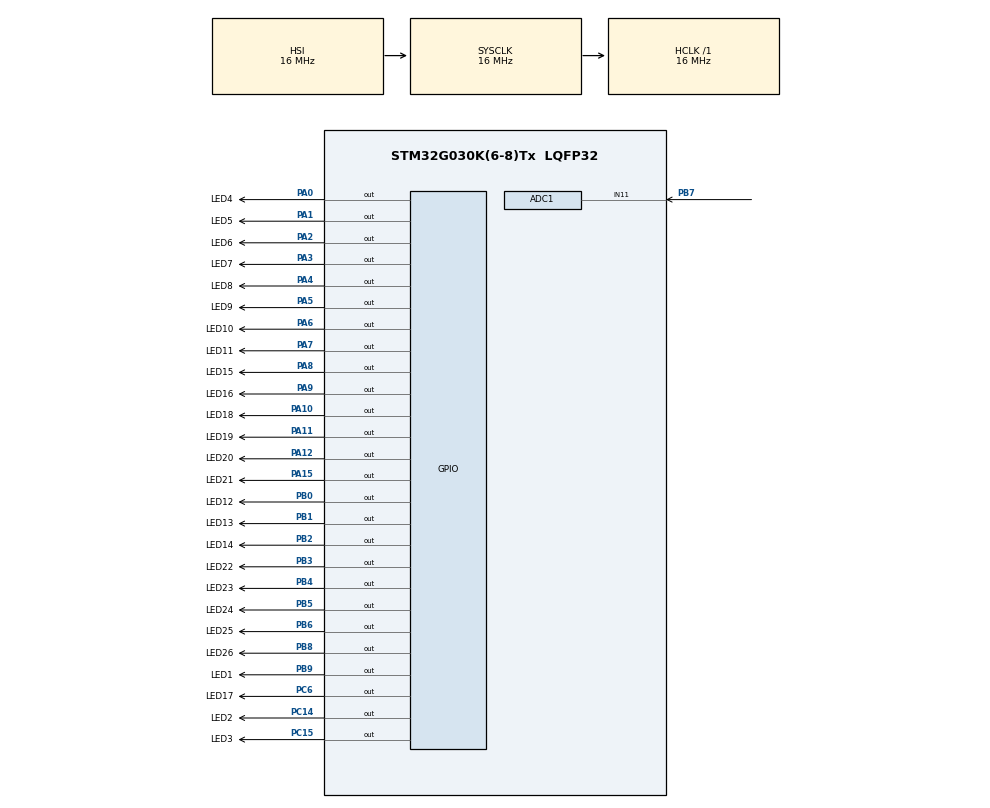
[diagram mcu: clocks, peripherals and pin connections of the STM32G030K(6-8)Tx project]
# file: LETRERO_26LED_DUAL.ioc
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ADC1.Channel-0\#ChannelRegularConversion=ADC_CHANNEL_11
ADC1.NbrOfConversionFlag=1
ADC1.Rank-0\#ChannelRegularConversion=1
ADC1.SamplingTime-0\#ChannelRegularConversion=ADC_SAMPLINGTIME_COMMON_1
ADC1.SamplingTimeCommon1=ADC_SAMPLETIME_160CYCLES_5
ADC1.SamplingTimeCommon2=ADC_SAMPLETIME_160CYCLES_5
ADC1.SelectedChannel=ADC_CHANNEL_11
ADC1.master=1
Mcu.Family=STM32G0
Mcu.Name=STM32G030K(6-8)Tx
Mcu.Package=LQFP32
NVIC.ADC1_IRQn=true\:0\:0\:false\:false\:true\:true\:true\:true
PA0.GPIO_Label=LED4
PA0.GPIO_ModeDefaultOutputPP=GPIO_MODE_OUTPUT_OD
PA0.GPIO_PuPd=GPIO_NOPULL
PA0.Signal=GPIO_Output
PA1.GPIO_Label=LED5
PA1.GPIO_ModeDefaultOutputPP=GPIO_MODE_OUTPUT_OD
PA1.GPIO_PuPd=GPIO_NOPULL
PA1.Signal=GPIO_Output
PA10.GPIO_Label=LED18
PA10.GPIO_ModeDefaultOutputPP=GPIO_MODE_OUTPUT_OD
PA10.GPIO_PuPd=GPIO_NOPULL
PA10.Signal=GPIO_Output
PA11\ [PA9].GPIO_Label=LED19
PA11\ [PA9].GPIO_ModeDefaultOutputPP=GPIO_MODE_OUTPUT_OD
PA11\ [PA9].GPIO_PuPd=GPIO_NOPULL
PA11\ [PA9].Signal=GPIO_Output
PA12\ [PA10].GPIO_Label=LED20
PA12\ [PA10].GPIO_ModeDefaultOutputPP=GPIO_MODE_OUTPUT_OD
PA12\ [PA10].GPIO_PuPd=GPIO_NOPULL
PA12\ [PA10].Signal=GPIO_Output
PA13.Mode=Serial_Wire
PA13.Signal=SYS_SWDIO
PA14-BOOT0.Mode=Serial_Wire
PA14-BOOT0.Signal=SYS_SWCLK
PA15.GPIO_Label=LED21
PA15.GPIO_ModeDefaultOutputPP=GPIO_MODE_OUTPUT_OD
PA15.GPIO_PuPd=GPIO_NOPULL
PA15.Signal=GPIO_Output
PA2.GPIO_Label=LED6
PA2.GPIO_ModeDefaultOutputPP=GPIO_MODE_OUTPUT_OD
PA2.GPIO_PuPd=GPIO_NOPULL
PA2.Signal=GPIO_Output
PA3.GPIO_Label=LED7
PA3.GPIO_ModeDefaultOutputPP=GPIO_MODE_OUTPUT_OD
PA3.GPIO_PuPd=GPIO_NOPULL
PA3.Signal=GPIO_Output
PA4.GPIO_Label=LED8
PA4.GPIO_ModeDefaultOutputPP=GPIO_MODE_OUTPUT_OD
PA4.GPIO_PuPd=GPIO_NOPULL
PA4.Signal=GPIO_Output
PA5.GPIO_Label=LED9
PA5.GPIO_ModeDefaultOutputPP=GPIO_MODE_OUTPUT_OD
PA5.GPIO_PuPd=GPIO_NOPULL
PA5.Signal=GPIO_Output
PA6.GPIO_Label=LED10
PA6.GPIO_ModeDefaultOutputPP=GPIO_MODE_OUTPUT_OD
PA6.GPIO_PuPd=GPIO_NOPULL
PA6.Signal=GPIO_Output
PA7.GPIO_Label=LED11
PA7.GPIO_ModeDefaultOutputPP=GPIO_MODE_OUTPUT_OD
PA7.GPIO_PuPd=GPIO_NOPULL
PA7.Signal=GPIO_Output
PA8.GPIO_Label=LED15
PA8.GPIO_ModeDefaultOutputPP=GPIO_MODE_OUTPUT_OD
PA8.GPIO_PuPd=GPIO_NOPULL
PA8.Signal=GPIO_Output
PA9.GPIO_Label=LED16
PA9.GPIO_ModeDefaultOutputPP=GPIO_MODE_OUTPUT_OD
PA9.GPIO_PuPd=GPIO_NOPULL
PA9.Signal=GPIO_Output
PB0.GPIO_Label=LED12
PB0.GPIO_ModeDefaultOutputPP=GPIO_MODE_OUTPUT_OD
PB0.GPIO_PuPd=GPIO_NOPULL
PB0.Signal=GPIO_Output
PB1.GPIO_Label=LED13
PB1.GPIO_ModeDefaultOutputPP=GPIO_MODE_OUTPUT_OD
PB1.GPIO_PuPd=GPIO_NOPULL
PB1.Signal=GPIO_Output
PB2.GPIO_Label=LED14
PB2.GPIO_ModeDefaultOutputPP=GPIO_MODE_OUTPUT_OD
PB2.GPIO_PuPd=GPIO_NOPULL
PB2.Signal=GPIO_Output
PB3.GPIO_Label=LED22
PB3.GPIO_ModeDefaultOutputPP=GPIO_MODE_OUTPUT_OD
PB3.GPIO_PuPd=GPIO_NOPULL
PB3.Signal=GPIO_Output
PB4.GPIO_Label=LED23
PB4.GPIO_ModeDefaultOutputPP=GPIO_MODE_OUTPUT_OD
PB4.GPIO_PuPd=GPIO_NOPULL
PB4.Signal=GPIO_Output
PB5.GPIO_Label=LED24
PB5.GPIO_ModeDefaultOutputPP=GPIO_MODE_OUTPUT_OD
PB5.GPIO_PuPd=GPIO_NOPULL
PB5.Signal=GPIO_Output
PB6.GPIO_Label=LED25
PB6.GPIO_ModeDefaultOutputPP=GPIO_MODE_OUTPUT_OD
PB6.GPIO_PuPd=GPIO_NOPULL
PB6.Signal=GPIO_Output
PB7.Mode=IN11
PB7.Signal=ADC1_IN11
PB8.GPIO_Label=LED26
PB8.GPIO_ModeDefaultOutputPP=GPIO_MODE_OUTPUT_OD
PB8.GPIO_PuPd=GPIO_NOPULL
PB8.Signal=GPIO_Output
PB9.GPIO_Label=LED1
PB9.GPIO_ModeDefaultOutputPP=GPIO_MODE_OUTPUT_OD
PB9.GPIO_PuPd=GPIO_NOPULL
PB9.GPIO_Speed=GPIO_SPEED_FREQ_LOW
PB9.Signal=GPIO_Output
PC14-OSC32_IN\ (PC14).GPIO_Label=LED2
PC14-OSC32_IN\ (PC14).GPIO_ModeDefaultOutputPP=GPIO_MODE_OUTPUT_OD
PC14-OSC32_IN\ (PC14).GPIO_PuPd=GPIO_NOPULL
PC14-OSC32_IN\ (PC14).Signal=GPIO_Output
PC15-OSC32_OUT\ (PC15).GPIO_Label=LED3
PC15-OSC32_OUT\ (PC15).GPIO_ModeDefaultOutputPP=GPIO_MODE_OUTPUT_OD
PC15-OSC32_OUT\ (PC15).GPIO_PuPd=GPIO_NOPULL
PC15-OSC32_OUT\ (PC15).Signal=GPIO_Output
PC6.GPIO_Label=LED17
PC6.GPIO_ModeDefaultOutputPP=GPIO_MODE_OUTPUT_OD
PC6.GPIO_PuPd=GPIO_NOPULL
PC6.Signal=GPIO_Output
ProjectManager.HeapSize=0x200
ProjectManager.StackSize=0x400
ProjectManager.TargetToolchain=STM32CubeIDE
RCC.AHBFreq_Value=16000000
RCC.CortexFreq_Value=16000000
RCC.EXTERNAL_CLOCK_VALUE=12288000
RCC.HCLKFreq_Value=16000000
RCC.HSE_VALUE=8000000
RCC.HSI_VALUE=16000000
RCC.LSE_VALUE=32768
RCC.SYSCLKFreq_VALUE=16000000
RCC.VCOOutputFreq_Value=128000000
board=custom

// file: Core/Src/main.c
/* USER CODE BEGIN Header */
/**
  ******************************************************************************
  * @file           : main.c
  * @brief          : Main program body
  ******************************************************************************
  * @attention
  *
  * Copyright (c) 2023 STMicroelectronics.
  * All rights reserved.
  *
  * This software is licensed under terms that can be found in the LICENSE file
  * in the root directory of this software component.
  * If no LICENSE file comes with this software, it is provided AS-IS.
  *
  ******************************************************************************
  */
/* USER CODE END Header */
#include "main.h"

/* USER CODE BEGIN Includes */
#define L1(state)   HAL_GPIO_WritePin(LED1_GPIO_Port,  LED1_Pin,  state);  HAL_GPIO_WritePin(LED7_GPIO_Port, LED7_Pin, state)
#define L2(state)   HAL_GPIO_WritePin(LED2_GPIO_Port,  LED2_Pin,  state);  HAL_GPIO_WritePin(LED8_GPIO_Port, LED8_Pin, state)
#define L3(state)   HAL_GPIO_WritePin(LED3_GPIO_Port,  LED3_Pin,  state);  HAL_GPIO_WritePin(LED9_GPIO_Port, LED9_Pin, state)
#define L4(state)   HAL_GPIO_WritePin(LED4_GPIO_Port,  LED4_Pin,  state);  HAL_GPIO_WritePin(LED10_GPIO_Port,LED10_Pin, state)
#define L5(state)   HAL_GPIO_WritePin(LED5_GPIO_Port,  LED5_Pin,  state);  HAL_GPIO_WritePin(LED11_GPIO_Port,LED11_Pin, state)
#define L6(state)   HAL_GPIO_WritePin(LED6_GPIO_Port,  LED6_Pin,  state);  HAL_GPIO_WritePin(LED12_GPIO_Port,LED12_Pin, state)

//#define L8(state)  HAL_GPIO_WritePin(LED8_GPIO_Port,  LED8_Pin,  state)
//#define L9(state)  HAL_GPIO_WritePin(LED9_GPIO_Port,  LED9_Pin,  state)
//#define L10(state) HAL_GPIO_WritePin(LED10_GPIO_Port, LED10_Pin, state)
//#define L11(state) HAL_GPIO_WritePin(LED11_GPIO_Port, LED11_Pin, state)
//#define L12(state) HAL_GPIO_WritePin(LED12_GPIO_Port, LED12_Pin, state)
//#define L13(state) HAL_GPIO_WritePin(LED13_GPIO_Port, LED13_Pin, state)
//#define L14(state) HAL_GPIO_WritePin(LED14_GPIO_Port, LED14_Pin, state)
//#define L15(state) HAL_GPIO_WritePin(LED15_GPIO_Port, LED15_Pin, state)
//#define L16(state) HAL_GPIO_WritePin(LED16_GPIO_Port, LED16_Pin, state)
//#define L17(state) HAL_GPIO_WritePin(LED17_GPIO_Port, LED17_Pin, state)
//#define L18(state) HAL_GPIO_WritePin(LED18_GPIO_Port, LED18_Pin, state)
//#define L19(state) HAL_GPIO_WritePin(LED19_GPIO_Port, LED19_Pin, state)
//#define L20(state) HAL_GPIO_WritePin(LED20_GPIO_Port, LED20_Pin, state)
//#define L21(state) HAL_GPIO_WritePin(LED21_GPIO_Port, LED21_Pin, state)
//#define L22(state) HAL_GPIO_WritePin(LED22_GPIO_Port, LED22_Pin, state)
//#define L23(state) HAL_GPIO_WritePin(LED23_GPIO_Port, LED23_Pin, state)
//#define L24(state) HAL_GPIO_WritePin(LED24_GPIO_Port, LED24_Pin, state)
//#define L25(state) HAL_GPIO_WritePin(LED25_GPIO_Port, LED25_Pin, state)
//#define L26(state) HAL_GPIO_WritePin(LED26_GPIO_Port, LED26_Pin, state)

/* USER CODE END Includes */

ADC_HandleTypeDef hadc1;

/* USER CODE BEGIN PV */
//Agregar o quitar la cantidad de leds en Private includes
uint8_t cantLeds=6;//tambien cambiar EncenderAleatorio y ControlLeds agregar o quitar la cantidad de leds
uint16_t adc;
static float vel;
/* USER CODE END PV */

void SystemClock_Config(void);
static void MX_GPIO_Init(void);
static void MX_ADC1_Init(void);
/* USER CODE BEGIN PFP */
void HAL_ADC_ConvCpltCallback(ADC_HandleTypeDef* hadc);
float Refresh_ADC_Value(void);

void ControlLeds(uint8_t led, uint8_t state);
void Barrido1(uint8_t veces, uint16_t tiempo, uint16_t tiempo2);
void Encender_1_Led(uint8_t num_led);
void Encender_1_Led_2(uint8_t num_led);
void Encender_1_Led_3(uint8_t num_led);
void Encender_1_Led_4(uint8_t num_led, uint8_t indice);
void AbrirApagar(uint8_t veces, uint16_t tiempo, uint16_t tiempo2);
void CerrarApagar(uint8_t veces, uint16_t tiempo, uint16_t tiempo2);
void Girar(uint8_t veces, uint16_t tiempo);
void VolumenAbrir(uint8_t veces, uint16_t tiempo, uint16_t tiempo2);
void VolumenCerrar(uint8_t veces, uint16_t tiempo, uint16_t tiempo2);
void ArmarIzquierda(uint8_t veces, uint16_t tiempo, uint16_t tiempo2);
void Blink(uint8_t veces, uint16_t tiempo);
void EncenderAleatorio(uint8_t veces, uint16_t tiempo, uint16_t tiempo2);

/* USER CODE END PFP */

int main(void)
{

  /* MCU Configuration--------------------------------------------------------*/

  /* Reset of all peripherals, Initializes the Flash interface and the Systick. */
  HAL_Init();

  /* Configure the system clock */
  SystemClock_Config();

  /* Initialize all configured peripherals */
  MX_GPIO_Init();
  MX_ADC1_Init();
  /* USER CODE BEGIN 2 */
  HAL_ADC_Start_IT(&hadc1);
  HAL_Delay(1500);
  /* USER CODE END 2 */

  /* Infinite loop */
  /* USER CODE BEGIN WHILE */

  while (1)
  {

	  Barrido1(2,60,2500);Blink(2,2000);
	  ArmarIzquierda(2,30,2000);Blink(2,2000);
	  VolumenAbrir(2,30,2500);Blink(2,2000);
	  EncenderAleatorio(2,150,2000);Blink(2,2000);
	  Girar(4,100);Blink(2,2000);
	  VolumenCerrar(2,30,2500);Blink(2,2000);

	  CerrarApagar(1,150,2000);
	  AbrirApagar(1,150,2000);
	  AbrirApagar(1,150,2000);
	  CerrarApagar(1,150,2000);
	  Blink(2,2000);

	  // para 3 letras
//	  Barrido1(2,60,1500);
//	  Blink(1,1000);
//
//	  ArmarIzquierda(4,30,1000);
//	  Blink(1,1000);
//
//	  Girar(4,100);
//	  Blink(1,1000);
//
//	  VolumenAbrir(2,80,1500);
//	  Blink(1,1000);
//
//	  CerrarApagar(4,150,1200);
//	  Blink(1,1000);
//
//	  ArmarIzquierda(3,30,1000);
//	  Blink(3,1000);
    /* USER CODE END WHILE */

  }
}

void SystemClock_Config(void)
{
  RCC_OscInitTypeDef RCC_OscInitStruct = {0};
  RCC_ClkInitTypeDef RCC_ClkInitStruct = {0};

  /** Configure the main internal regulator output voltage
  */
  HAL_PWREx_ControlVoltageScaling(PWR_REGULATOR_VOLTAGE_SCALE1);

  /** Initializes the RCC Oscillators according to the specified parameters
  * in the RCC_OscInitTypeDef structure.
  */
  RCC_OscInitStruct.OscillatorType = RCC_OSCILLATORTYPE_HSI;
  RCC_OscInitStruct.HSIState = RCC_HSI_ON;
  RCC_OscInitStruct.HSIDiv = RCC_HSI_DIV1;
  RCC_OscInitStruct.HSICalibrationValue = RCC_HSICALIBRATION_DEFAULT;
  RCC_OscInitStruct.PLL.PLLState = RCC_PLL_NONE;
  if (HAL_RCC_OscConfig(&RCC_OscInitStruct) != HAL_OK)
  {
    Error_Handler();
  }

  /** Initializes the CPU, AHB and APB buses clocks
  */
  RCC_ClkInitStruct.ClockType = RCC_CLOCKTYPE_HCLK|RCC_CLOCKTYPE_SYSCLK
                              |RCC_CLOCKTYPE_PCLK1;
  RCC_ClkInitStruct.SYSCLKSource = RCC_SYSCLKSOURCE_HSI;
  RCC_ClkInitStruct.AHBCLKDivider = RCC_SYSCLK_DIV1;
  RCC_ClkInitStruct.APB1CLKDivider = RCC_HCLK_DIV1;

  if (HAL_RCC_ClockConfig(&RCC_ClkInitStruct, FLASH_LATENCY_0) != HAL_OK)
  {
    Error_Handler();
  }
}

static void MX_ADC1_Init(void)
{

  ADC_ChannelConfTypeDef sConfig = {0};

  /** Configure the global features of the ADC (Clock, Resolution, Data Alignment and number of conversion)
  */
  hadc1.Instance = ADC1;
  hadc1.Init.ClockPrescaler = ADC_CLOCK_SYNC_PCLK_DIV2;
  hadc1.Init.Resolution = ADC_RESOLUTION_12B;
  hadc1.Init.DataAlign = ADC_DATAALIGN_RIGHT;
  hadc1.Init.ScanConvMode = ADC_SCAN_DISABLE;
  hadc1.Init.EOCSelection = ADC_EOC_SINGLE_CONV;
  hadc1.Init.LowPowerAutoWait = DISABLE;
  hadc1.Init.LowPowerAutoPowerOff = DISABLE;
  hadc1.Init.ContinuousConvMode = DISABLE;
  hadc1.Init.NbrOfConversion = 1;
  hadc1.Init.DiscontinuousConvMode = DISABLE;
  hadc1.Init.ExternalTrigConv = ADC_SOFTWARE_START;
  hadc1.Init.ExternalTrigConvEdge = ADC_EXTERNALTRIGCONVEDGE_NONE;
  hadc1.Init.DMAContinuousRequests = DISABLE;
  hadc1.Init.Overrun = ADC_OVR_DATA_PRESERVED;
  hadc1.Init.SamplingTimeCommon1 = ADC_SAMPLETIME_160CYCLES_5;
  hadc1.Init.SamplingTimeCommon2 = ADC_SAMPLETIME_160CYCLES_5;
  hadc1.Init.OversamplingMode = DISABLE;
  hadc1.Init.TriggerFrequencyMode = ADC_TRIGGER_FREQ_HIGH;
  if (HAL_ADC_Init(&hadc1) != HAL_OK)
  {
    Error_Handler();
  }

  /** Configure Regular Channel
  */
  sConfig.Channel = ADC_CHANNEL_11;
  sConfig.Rank = ADC_REGULAR_RANK_1;
  sConfig.SamplingTime = ADC_SAMPLINGTIME_COMMON_1;
  if (HAL_ADC_ConfigChannel(&hadc1, &sConfig) != HAL_OK)
  {
    Error_Handler();
  }

}

static void MX_GPIO_Init(void)
{
  GPIO_InitTypeDef GPIO_InitStruct = {0};

  /* GPIO Ports Clock Enable */
  __HAL_RCC_GPIOB_CLK_ENABLE();
  __HAL_RCC_GPIOC_CLK_ENABLE();
  __HAL_RCC_GPIOA_CLK_ENABLE();

  /*Configure GPIO pin Output Level */
  HAL_GPIO_WritePin(GPIOB, LED1_Pin|LED12_Pin|LED13_Pin|LED14_Pin
                          |LED22_Pin|LED23_Pin|LED24_Pin|LED25_Pin
                          |LED26_Pin, GPIO_PIN_RESET);

  /*Configure GPIO pin Output Level */
  HAL_GPIO_WritePin(GPIOC, LED2_Pin|LED3_Pin|LED17_Pin, GPIO_PIN_RESET);

  /*Configure GPIO pin Output Level */
  HAL_GPIO_WritePin(GPIOA, LED4_Pin|LED5_Pin|LED6_Pin|LED7_Pin
                          |LED8_Pin|LED9_Pin|LED10_Pin|LED11_Pin
                          |LED15_Pin|LED16_Pin|LED18_Pin|LED19_Pin
                          |LED20_Pin|LED21_Pin, GPIO_PIN_RESET);

  /*Configure GPIO pins : LED1_Pin LED12_Pin LED13_Pin LED14_Pin
                           LED22_Pin LED23_Pin LED24_Pin LED25_Pin
                           LED26_Pin */
  GPIO_InitStruct.Pin = LED1_Pin|LED12_Pin|LED13_Pin|LED14_Pin
                          |LED22_Pin|LED23_Pin|LED24_Pin|LED25_Pin
                          |LED26_Pin;
  GPIO_InitStruct.Mode = GPIO_MODE_OUTPUT_OD;
  GPIO_InitStruct.Pull = GPIO_NOPULL;
  GPIO_InitStruct.Speed = GPIO_SPEED_FREQ_LOW;
  HAL_GPIO_Init(GPIOB, &GPIO_InitStruct);

  /*Configure GPIO pins : LED2_Pin LED3_Pin LED17_Pin */
  GPIO_InitStruct.Pin = LED2_Pin|LED3_Pin|LED17_Pin;
  GPIO_InitStruct.Mode = GPIO_MODE_OUTPUT_OD;
  GPIO_InitStruct.Pull = GPIO_NOPULL;
  GPIO_InitStruct.Speed = GPIO_SPEED_FREQ_LOW;
  HAL_GPIO_Init(GPIOC, &GPIO_InitStruct);

  /*Configure GPIO pins : LED4_Pin LED5_Pin LED6_Pin LED7_Pin
                           LED8_Pin LED9_Pin LED10_Pin LED11_Pin
                           LED15_Pin LED16_Pin LED18_Pin LED19_Pin
                           LED20_Pin LED21_Pin */
  GPIO_InitStruct.Pin = LED4_Pin|LED5_Pin|LED6_Pin|LED7_Pin
                          |LED8_Pin|LED9_Pin|LED10_Pin|LED11_Pin
                          |LED15_Pin|LED16_Pin|LED18_Pin|LED19_Pin
                          |LED20_Pin|LED21_Pin;
  GPIO_InitStruct.Mode = GPIO_MODE_OUTPUT_OD;
  GPIO_InitStruct.Pull = GPIO_NOPULL;
  GPIO_InitStruct.Speed = GPIO_SPEED_FREQ_LOW;
  HAL_GPIO_Init(GPIOA, &GPIO_InitStruct);

}

/* USER CODE BEGIN 4 */
void HAL_ADC_ConvCpltCallback(ADC_HandleTypeDef* hadc){
	adc = HAL_ADC_GetValue(&hadc1);
	vel = (float)adc/1023;
	HAL_ADC_Start_IT(&hadc1);
}

float Refresh_ADC_Value(void){
	adc = HAL_ADC_GetValue(&hadc1);
	vel = (float)adc/1023;
	HAL_ADC_Start_IT(&hadc1);
	return vel;
}

void ControlLeds(uint8_t led, uint8_t state){
	switch(led){
		case 1:  L1(state); break;
		case 2:  L2(state); break;
		case 3:  L3(state); break;
		case 4:  L4(state); break;
		case 5:  L5(state); break;
		case 6:  L6(state); break;
//		case 7:  L7(state); break;
//		case 8:  L8(state); break;
//		case 9:  L9(state); break;
//		case 10: L10(state);break;
//		case 11: L11(state);break;
//		case 12: L12(state);break;
//		case 13: L13(state);break;
//		case 14: L14(state);break;
//		case 15: L15(state);break;
//		case 16: L16(state);break;
//		case 17: L17(state);break;
//		case 18: L18(state);break;
//		case 19: L19(state);break;
//		case 20: L20(state);break;
//		case 21: L21(state);break;
//		case 22: L22(state);break;
//		case 23: L23(state);break;
//		case 24: L24(state);break;
//		case 25: L25(state);break;
//		case 26: L26(state);break;
	}
}

void Barrido1(uint8_t veces, uint16_t tiempo, uint16_t tiempo2){
	for(uint8_t v=0;v<veces;v++){
		for(uint8_t i=1; i<=cantLeds; i++){ControlLeds(i,1);HAL_Delay(tiempo*Refresh_ADC_Value());}
		HAL_Delay(tiempo2*Refresh_ADC_Value());
		for(uint8_t i=1; i<=cantLeds; i++){ControlLeds(i,0);HAL_Delay(tiempo*Refresh_ADC_Value());}
	}
}

void Encender_1_Led(uint8_t num_led){
	for(uint8_t i=1; i<=cantLeds; i++){
		if(i == num_led){
			ControlLeds(i,1);
		}else{
			ControlLeds(i,0);
		}
	}
}

void Encender_1_Led_2(uint8_t num_led){
	for(uint8_t i=1; i<=cantLeds; i++){
		if(i<=num_led){
			ControlLeds(i,1);
		}else{
			ControlLeds(i,0);
		}
	}
}

void Encender_1_Led_3(uint8_t num_led){
	for(uint8_t i=1; i<=cantLeds; i++){
		if(i>=num_led){
			ControlLeds(i,1);
		}else{
			ControlLeds(i,0);
		}
	}
}

void Encender_1_Led_4(uint8_t num_led, uint8_t indice){
	for(uint8_t i=cantLeds;i>=indice;i--){
		if(i == num_led){
			ControlLeds(i,1);
		}else{
			ControlLeds(i,0);
		}
	}
}

void AbrirApagar(uint8_t veces, uint16_t tiempo, uint16_t tiempo2){

	for(uint8_t v=0;v<veces;v++){
		uint8_t centro,impar=1,par=0;
		if(cantLeds%2==0){//si es par
			centro = cantLeds/2;
			for(uint8_t i=centro;i>=1;i--){
				ControlLeds(i, 1);
				ControlLeds(i+impar, 1);
				impar=impar+2;
				HAL_Delay(tiempo*Refresh_ADC_Value());
			}

			impar=1;
			HAL_Delay(tiempo2*Refresh_ADC_Value());

			for(uint8_t i=centro;i>=1;i--){
				ControlLeds(i, 0);
				ControlLeds(i+impar, 0);
				impar=impar+2;
				HAL_Delay(tiempo*Refresh_ADC_Value());
			}

		}else{//si es impar
			centro = (cantLeds/2)+1;
			for(uint8_t i=centro;i>=1;i--){
				ControlLeds(i, 1);
				ControlLeds(i+par, 1);
				par=par+2;
				HAL_Delay(tiempo*Refresh_ADC_Value());
			}

			par=0;
			HAL_Delay(tiempo2*Refresh_ADC_Value());

			for(uint8_t i=centro;i>=1;i--){
				ControlLeds(i, 0);
				ControlLeds(i+par, 0);
				par=par+2;
				HAL_Delay(tiempo*Refresh_ADC_Value());
			}
		}
	}
}

void CerrarApagar(uint8_t veces, uint16_t tiempo, uint16_t tiempo2){
	for(uint8_t v=0;v<veces;v++){
		uint8_t limite,centro;
		if(cantLeds%2==0){//si es par

			centro = cantLeds/2;//5
			limite = cantLeds-1;
			for(uint8_t i=1;i<=centro;i++){
				ControlLeds(i, 1);
				ControlLeds(i+limite, 1);
				limite=limite-2;
				HAL_Delay(tiempo*Refresh_ADC_Value());
			}
			limite = cantLeds-1;
			HAL_Delay(tiempo2*Refresh_ADC_Value());
			for(uint8_t i=1;i<=centro;i++){
				ControlLeds(i, 0);
				ControlLeds(i+limite, 0);
				limite=limite-2;
				HAL_Delay(tiempo*Refresh_ADC_Value());
			}

		}else{//si es impar
			centro = (cantLeds/2)+1;//5
			limite = cantLeds-1;
			for(uint8_t i=1;i<=centro;i++){
				ControlLeds(i, 1);
				ControlLeds(i+limite, 1);
				limite=limite-2;
				HAL_Delay(tiempo*Refresh_ADC_Value());
			}
			limite = cantLeds-1;
			HAL_Delay(tiempo2*Refresh_ADC_Value());
			for(uint8_t i=1;i<=centro;i++){
				ControlLeds(i, 0);
				ControlLeds(i+limite, 0);
				limite=limite-2;
				HAL_Delay(tiempo*Refresh_ADC_Value());
			}
		}
	}
}

void Girar(uint8_t veces, uint16_t tiempo){
	for(uint8_t v=0;v<veces;v++){
		AbrirApagar(1,tiempo*Refresh_ADC_Value(),0);
		CerrarApagar(1,tiempo*Refresh_ADC_Value(),0);
	}
}

void VolumenAbrir(uint8_t veces, uint16_t tiempo, uint16_t tiempo2){
	for(uint8_t v=0;v<veces;v++){
		uint8_t l;
		for(uint8_t i=1;i<=cantLeds;i++){
			l=i;
			HAL_Delay(tiempo*Refresh_ADC_Value());
			for(uint8_t i=l;i<=cantLeds;i++){
				Encender_1_Led_2(i);
				HAL_Delay(tiempo*Refresh_ADC_Value());
			}
			for(uint8_t i=cantLeds;i>=l;i--){
				Encender_1_Led_2(i);
				HAL_Delay(tiempo*Refresh_ADC_Value());
			}
		}
		HAL_Delay(tiempo2*Refresh_ADC_Value());
	}
}

void VolumenCerrar(uint8_t veces, uint16_t tiempo, uint16_t tiempo2){
	for(uint8_t v=0;v<veces;v++){
		uint8_t l;
		for(uint8_t i=cantLeds;i>=1;i--){
			l=i;
			HAL_Delay(tiempo*Refresh_ADC_Value());
			for(uint8_t i=l;i<=cantLeds;i++){
				Encender_1_Led_3(i);
				HAL_Delay(tiempo*Refresh_ADC_Value());
			}
			for(uint8_t i=cantLeds;i>=l;i--){
				Encender_1_Led_3(i);
				HAL_Delay(tiempo*Refresh_ADC_Value());
			}
		}
		HAL_Delay(tiempo2*Refresh_ADC_Value());
	}
}

void ArmarIzquierda(uint8_t veces, uint16_t tiempo, uint16_t tiempo2){
	for(uint8_t v=0;v<veces;v++){

		uint8_t l=1;
		for(uint8_t i=cantLeds;i>=1;i--){
			for(uint8_t i=cantLeds;i>=l;i--){
				Encender_1_Led_4(i,l);
				if(l<cantLeds/2){
					HAL_Delay(tiempo*Refresh_ADC_Value());
				}else if(l>=cantLeds-2){
					HAL_Delay(tiempo*Refresh_ADC_Value()*4);
				}else{
					HAL_Delay(tiempo*Refresh_ADC_Value()*2);
				}
				//HAL_Delay(tiempo);
			}

			if(l>=cantLeds){
				l=1;
			}else{
				ControlLeds(l, 1);
				l++;
			}
		}

		HAL_Delay(tiempo2*Refresh_ADC_Value());
	}
}

void EncenderAleatorio(uint8_t veces, uint16_t tiempo, uint16_t tiempo2){

	//5 letras
	//uint8_t secuencia1[5]={4,3,5,1,2};
	//uint8_t secuencia2[5]={2,5,1,3,4};

	//6 letras
	uint8_t secuencia1[6]={6,2,4,1,3,5};
	uint8_t secuencia2[6]={5,1,4,2,6,3};

	//7 letras
	//uint8_t secuencia1[7]={6,2,4,7,1,3,5};
	//uint8_t secuencia2[7]={7,5,1,4,2,6,3};

	//8 letras
	//uint8_t secuencia1[8]={6,2,4,7,1,3,5,8};
	//uint8_t secuencia2[8]={7,5,1,8,4,2,6,3};

	//9 letras
	//uint8_t secuencia1[9]={9,6,2,4,7,1,3,5,8};
	//uint8_t secuencia2[9]={7,5,1,8,4,2,6,3,9};

	//10 letras
	//uint8_t secuencia1[10]={9,6,2,10,4,7,1,3,5,8};
	//uint8_t secuencia2[10]={7,10,5,1,8,4,2,6,3,9};

	for(uint8_t i=0;i<cantLeds;i++){
		ControlLeds(secuencia1[i], 1);
		HAL_Delay(tiempo*Refresh_ADC_Value());
	}

	HAL_Delay(tiempo2*Refresh_ADC_Value());

	for(int8_t i=cantLeds-1;i>=0;i--){
		ControlLeds(secuencia1[i], 0);
		HAL_Delay(tiempo*Refresh_ADC_Value());
	}

	HAL_Delay(tiempo2*Refresh_ADC_Value()*0.20);

	for(uint8_t i=0;i<cantLeds;i++){
		ControlLeds(secuencia2[i], 1);
		HAL_Delay(tiempo*Refresh_ADC_Value());
	}

	HAL_Delay(tiempo2*Refresh_ADC_Value());

	for(int8_t i=cantLeds-1;i>=0;i--){
		ControlLeds(secuencia2[i], 0);
		HAL_Delay(tiempo*Refresh_ADC_Value());
	}

	HAL_Delay(tiempo2*Refresh_ADC_Value()*0.20);

}

void Blink(uint8_t veces, uint16_t tiempo){
	for(uint8_t v=0;v<veces;v++){
		for(uint8_t i=1;i<=cantLeds;i++){
			ControlLeds(i, 1);
		}
		HAL_Delay(tiempo*Refresh_ADC_Value());
		for(uint8_t i=1;i<=cantLeds;i++){
			ControlLeds(i, 0);
		}
		HAL_Delay((tiempo*Refresh_ADC_Value())/5);
	}
}
/* USER CODE END 4 */

void Error_Handler(void)
{
  __disable_irq();
  while (1)
  {
  }
}
